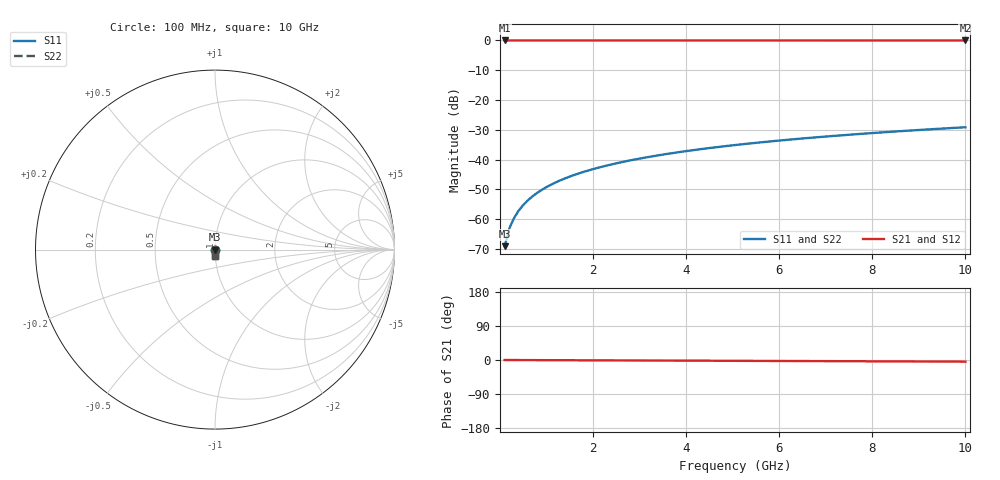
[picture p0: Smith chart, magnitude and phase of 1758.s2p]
# Hz S RI R 50.00
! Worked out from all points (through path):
!   100 points, 100 MHz to 10 GHz, reference 50 ohm
!   highest |S21| = 0.00 dB at 100 MHz (marker M1); lowest = 0.0 dB at 10 GHz (marker M2)
!   lowest |S11| = -69.0 dB at 100 MHz (marker M3), VSWR 1.00, Z = 50 - j0.0347 ohm
!   |S11| at or under -10 dB: start of sweep to end of sweep
!   |S22| runs from -69.0 to -29.1 dB; largest |S21 - S12| = 0
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1e8  7.07e-05 -0.000347  0.9999 -0.000744  0.9999 -0.000744  7.07e-05 -0.000347
2e8  6.99e-05 -0.000693  0.9999 -0.00149  0.9999 -0.00149  6.99e-05 -0.000693
3e8  6.85e-05 -0.00104  0.9999 -0.00223  0.9999 -0.00223  6.85e-05 -0.00104
4e8  6.64e-05 -0.00139  0.9999 -0.00298  0.9999 -0.00298  6.64e-05 -0.00139
5e8  6.38e-05 -0.00173  0.9999 -0.00372  0.9999 -0.00372  6.38e-05 -0.00173
6e8  6.07e-05 -0.00208  0.9999 -0.00447  0.9999 -0.00447  6.07e-05 -0.00208
7e8  5.7e-05 -0.00243  0.9999 -0.00521  0.9999 -0.00521  5.7e-05 -0.00243
8e8  5.28e-05 -0.00277  0.9999 -0.00596  0.9999 -0.00596  5.28e-05 -0.00277
9e8  4.81e-05 -0.00312  0.9999 -0.0067  0.9999 -0.0067  4.81e-05 -0.00312
1.1e9  3.71e-05 -0.00381  0.9999 -0.00819  0.9999 -0.00819  3.71e-05 -0.00381
1.4e9  1.66e-05 -0.00485  0.9999 -0.0104  0.9999 -0.0104  1.66e-05 -0.00485
1.8e9  -1.81e-05 -0.00624  0.9998 -0.0134  0.9998 -0.0134  -1.81e-05 -0.00624
2.1e9  -4.96e-05 -0.00729  0.9998 -0.0156  0.9998 -0.0156  -4.96e-05 -0.00729
2.5e9  -9.89e-05 -0.00868  0.9997 -0.0186  0.9997 -0.0186  -9.89e-05 -0.00868
2.9e9  -0.000157 -0.0101  0.9996 -0.0216  0.9996 -0.0216  -0.000157 -0.0101
3.4e9  -0.000241 -0.0118  0.9995 -0.0254  0.9995 -0.0254  -0.000241 -0.0118
4.2e9  -0.000402 -0.0146  0.9993 -0.0314  0.9993 -0.0314  -0.000402 -0.0146
5.1e9  -0.000625 -0.0177  0.999 -0.0381  0.999 -0.0381  -0.000625 -0.0177
5.9e9  -0.000859 -0.0205  0.9987 -0.0441  0.9987 -0.0441  -0.000859 -0.0205
6.7e9  -0.00113 -0.0233  0.9984 -0.0501  0.9984 -0.0501  -0.00113 -0.0233
8.4e9  -0.00181 -0.0293  0.9975 -0.0629  0.9975 -0.0629  -0.00181 -0.0293
1e10  -0.0026 -0.0349  0.9964 -0.075  0.9964 -0.075  -0.0026 -0.0349
